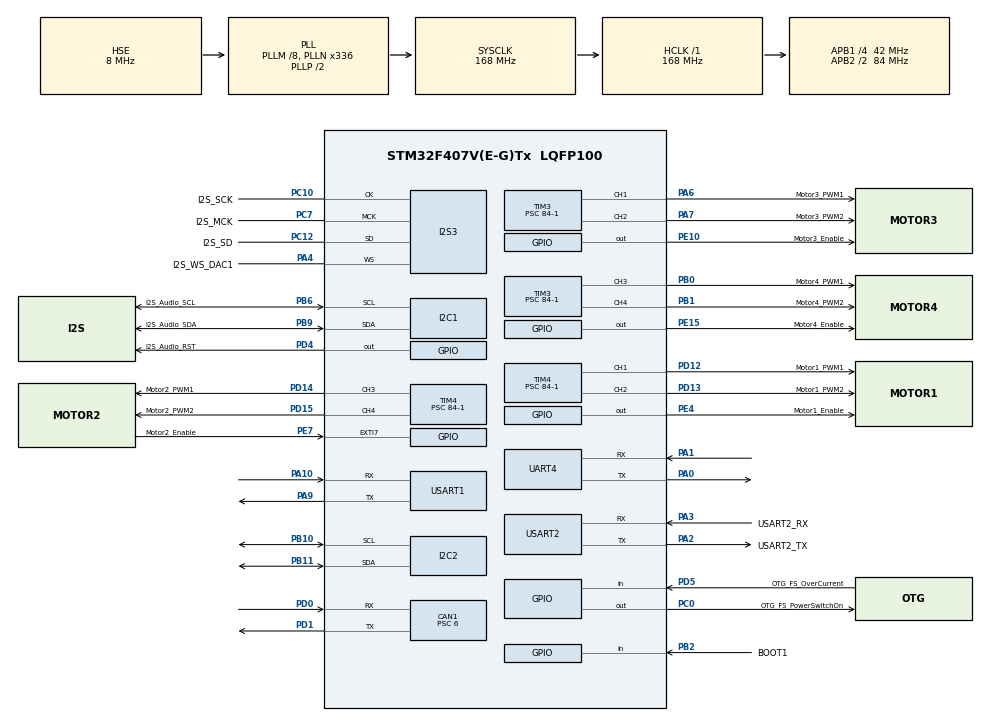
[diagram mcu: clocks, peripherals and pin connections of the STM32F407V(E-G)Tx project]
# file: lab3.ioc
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CAN1.BS1=CAN_BS1_11TQ
CAN1.BS2=CAN_BS2_2TQ
CAN1.CalculateBaudRate=500000
CAN1.CalculateTimeBit=2000
CAN1.CalculateTimeQuantum=142.85714285714286
CAN1.Prescaler=6
I2S3.AudioFreq-Half_Duplex_Master=I2S_AUDIOFREQ_96K
I2S3.ErrorAudioFreq=-2.34 %
I2S3.ErrorAudioFreq-Half_Duplex_Master=0.8 %
I2S3.FullDuplexMode=I2S_FULLDUPLEXMODE_DISABLE
I2S3.Instance=SPI$Index
I2S3.RealAudioFreq=93.75 KHz
I2S3.RealAudioFreq-Half_Duplex_Master=96.774 KHz
I2S3.VirtualMode=I2S_MODE_MASTER
Mcu.Family=STM32F4
Mcu.Name=STM32F407V(E-G)Tx
Mcu.Package=LQFP100
NVIC.CAN1_RX0_IRQn=true\:0\:0\:false\:false\:true\:true\:true\:true
NVIC.PriorityGroup=NVIC_PRIORITYGROUP_0
NVIC.TIM1_UP_TIM10_IRQn=true\:0\:0\:false\:false\:true\:true\:true\:true
NVIC.USART2_IRQn=true\:0\:0\:false\:false\:true\:true\:true\:true
PA0-WKUP.Mode=Asynchronous
PA0-WKUP.Signal=UART4_TX
PA1.Mode=Asynchronous
PA1.Signal=UART4_RX
PA10.Mode=Asynchronous
PA10.Signal=USART1_RX
PA13.GPIO_Label=SWDIO
PA13.Mode=Serial_Wire
PA13.Signal=SYS_JTMS-SWDIO
PA14.GPIO_Label=SWCLK
PA14.Mode=Serial_Wire
PA14.Signal=SYS_JTCK-SWCLK
PA2.GPIO_Label=USART2_TX
PA2.Mode=Asynchronous
PA2.Signal=USART2_TX
PA3.GPIO_Label=USART2_RX
PA3.Mode=Asynchronous
PA3.Signal=USART2_RX
PA4.GPIO_Label=I2S_WS_DAC1
PA4.GPIO_Mode=GPIO_MODE_AF_PP
PA4.GPIO_PuPd=GPIO_NOPULL
PA4.GPIO_Speed=GPIO_SPEED_FREQ_LOW
PA4.Mode=Half_Duplex_Master
PA4.Signal=I2S3_WS
PA6.GPIO_Label=Motor3_PWM1
PA6.Signal=S_TIM3_CH1
PA7.GPIO_Label=Motor3_PWM2
PA7.Signal=S_TIM3_CH2
PA9.Mode=Asynchronous
PA9.Signal=USART1_TX
PB0.GPIO_Label=Motor4_PWM1
PB0.Signal=S_TIM3_CH3
PB1.GPIO_Label=Motor4_PWM2
PB1.Signal=S_TIM3_CH4
PB10.Mode=I2C
PB10.Signal=I2C2_SCL
PB11.Mode=I2C
PB11.Signal=I2C2_SDA
PB2.GPIO_Label=BOOT1
PB2.GPIO_Mode=GPIO_MODE_INPUT
PB2.GPIO_PuPd=GPIO_NOPULL
PB2.Signal=GPIO_Input
PB6.GPIO_Label=I2S_Audio_SCL
PB6.GPIO_Mode=GPIO_MODE_AF_OD
PB6.GPIO_Pu=GPIO_PULLUP
PB6.GPIO_PuPd=GPIO_NOPULL
PB6.GPIO_Speed=GPIO_SPEED_FREQ_LOW
PB6.Mode=I2C
PB6.Signal=I2C1_SCL
PB9.GPIO_Label=I2S_Audio_SDA
PB9.GPIO_Mode=GPIO_MODE_AF_OD
PB9.GPIO_Pu=GPIO_PULLUP
PB9.GPIO_PuPd=GPIO_NOPULL
PB9.GPIO_Speed=GPIO_SPEED_FREQ_LOW
PB9.Mode=I2C
PB9.Signal=I2C1_SDA
PC0.GPIO_Label=OTG_FS_PowerSwitchOn
PC0.GPIO_PuPd=GPIO_NOPULL
PC0.GPIO_Speed=GPIO_SPEED_FREQ_LOW
PC0.PinState=GPIO_PIN_SET
PC0.Signal=GPIO_Output
PC10.GPIO_Label=I2S_SCK
PC10.GPIO_Mode=GPIO_MODE_AF_PP
PC10.GPIO_PuPd=GPIO_NOPULL
PC10.GPIO_Speed=GPIO_SPEED_FREQ_LOW
PC10.Mode=Half_Duplex_Master
PC10.Signal=I2S3_CK
PC12.GPIO_Label=I2S_SD
PC12.GPIO_Mode=GPIO_MODE_AF_PP
PC12.GPIO_PuPd=GPIO_NOPULL
PC12.GPIO_Speed=GPIO_SPEED_FREQ_LOW
PC12.Mode=Half_Duplex_Master
PC12.Signal=I2S3_SD
PC14-OSC32_IN.GPIO_Label=PC14-OSC32_IN
PC14-OSC32_IN.Mode=LSE-External-Oscillator
PC14-OSC32_IN.Signal=RCC_OSC32_IN
PC15-OSC32_OUT.GPIO_Label=PC15-OSC32_OUT
PC15-OSC32_OUT.Mode=LSE-External-Oscillator
PC15-OSC32_OUT.Signal=RCC_OSC32_OUT
PC7.GPIO_Label=I2S_MCK
PC7.GPIO_Mode=GPIO_MODE_AF_PP
PC7.GPIO_PuPd=GPIO_NOPULL
PC7.GPIO_Speed=GPIO_SPEED_FREQ_LOW
PC7.Mode=Master_Clock_Activated
PC7.Signal=I2S3_MCK
PD0.Mode=CAN_Activate
PD0.Signal=CAN1_RX
PD1.Mode=CAN_Activate
PD1.Signal=CAN1_TX
PD12.GPIO_Label=Motor1_PWM1
PD12.Signal=S_TIM4_CH1
PD13.GPIO_Label=Motor1_PWM2
PD13.Signal=S_TIM4_CH2
PD14.GPIO_Label=Motor2_PWM1
PD14.Signal=S_TIM4_CH3
PD15.GPIO_Label=Motor2_PWM2
PD15.Signal=S_TIM4_CH4
PD4.GPIO_Label=I2S_Audio_RST
PD4.GPIO_PuPd=GPIO_NOPULL
PD4.GPIO_Speed=GPIO_SPEED_FREQ_LOW
PD4.Signal=GPIO_Output
PD5.GPIO_Label=OTG_FS_OverCurrent
PD5.GPIO_Mode=GPIO_MODE_INPUT
PD5.GPIO_PuPd=GPIO_NOPULL
PD5.Signal=GPIO_Input
PE10.GPIO_Label=Motor3_Enable
PE10.Signal=GPIO_Output
PE15.GPIO_Label=Motor4_Enable
PE15.Signal=GPIO_Output
PE4.GPIO_Label=Motor1_Enable
PE4.Signal=GPIO_Output
PE7.GPIO_Label=Motor2_Enable
PE7.Signal=GPXTI7
PH0-OSC_IN.GPIO_Label=PH0-OSC_IN
PH0-OSC_IN.Mode=HSE-External-Oscillator
PH0-OSC_IN.Signal=RCC_OSC_IN
PH1-OSC_OUT.GPIO_Label=PH1-OSC_OUT
PH1-OSC_OUT.Mode=HSE-External-Oscillator
PH1-OSC_OUT.Signal=RCC_OSC_OUT
ProjectManager.HeapSize=0x200
ProjectManager.StackSize=0x400
ProjectManager.TargetToolchain=STM32CubeIDE
RCC.48MHZClocksFreq_Value=48000000
RCC.AHBFreq_Value=168000000
RCC.APB1CLKDivider=RCC_HCLK_DIV4
RCC.APB1Freq_Value=42000000
RCC.APB1TimFreq_Value=84000000
RCC.APB2CLKDivider=RCC_HCLK_DIV2
RCC.APB2Freq_Value=84000000
RCC.APB2TimFreq_Value=168000000
RCC.CortexFreq_Value=168000000
RCC.HCLKFreq_Value=168000000
RCC.HSE_VALUE=8000000
RCC.HSI_VALUE=16000000
RCC.PLLM=8
RCC.PLLN=336
RCC.PLLQ=7
RCC.PLLSourceVirtual=RCC_PLLSOURCE_HSE
RCC.SYSCLKFreq_VALUE=168000000
RCC.SYSCLKSource=RCC_SYSCLKSOURCE_PLLCLK
RCC.VCOOutputFreq_Value=336000000
SH.S_TIM3_CH1.0=TIM3_CH1,PWM Generation1 CH1
SH.S_TIM3_CH2.0=TIM3_CH2,PWM Generation2 CH2
SH.S_TIM3_CH3.0=TIM3_CH3,PWM Generation3 CH3
SH.S_TIM3_CH4.0=TIM3_CH4,PWM Generation4 CH4
SH.S_TIM4_CH1.0=TIM4_CH1,PWM Generation1 CH1
SH.S_TIM4_CH2.0=TIM4_CH2,PWM Generation2 CH2
SH.S_TIM4_CH3.0=TIM4_CH3,PWM Generation3 CH3
SH.S_TIM4_CH4.0=TIM4_CH4,PWM Generation4 CH4
TIM1.Period=10000-1
TIM1.Prescaler=1680-1
TIM1.TIM_MasterOutputTrigger=TIM_TRGO_UPDATE
TIM3.Channel-PWM\ Generation1\ CH1=TIM_CHANNEL_1
TIM3.Channel-PWM\ Generation2\ CH2=TIM_CHANNEL_2
TIM3.Channel-PWM\ Generation3\ CH3=TIM_CHANNEL_3
TIM3.Channel-PWM\ Generation4\ CH4=TIM_CHANNEL_4
TIM3.Period=100-1
TIM3.Prescaler=84-1
TIM4.Channel-PWM\ Generation1\ CH1=TIM_CHANNEL_1
TIM4.Channel-PWM\ Generation2\ CH2=TIM_CHANNEL_2
TIM4.Channel-PWM\ Generation3\ CH3=TIM_CHANNEL_3
TIM4.Channel-PWM\ Generation4\ CH4=TIM_CHANNEL_4
TIM4.Period=100-1
TIM4.Prescaler=84-1
UART4.VirtualMode=Asynchronous
USART1.VirtualMode=VM_ASYNC
USART2.VirtualMode=VM_ASYNC
VP_TIM1_VS_ClockSourceINT.Mode=Internal
VP_TIM3_VS_ClockSourceINT.Mode=Internal
VP_TIM4_VS_ClockSourceINT.Mode=Internal
board=STM32F407G-DISC1

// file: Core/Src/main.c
/* USER CODE BEGIN Header */
/**
  ******************************************************************************
  * @file           : main.c
  * @brief          : Main program body
  ******************************************************************************
  * @attention
  *
  * Copyright (c) 2023 STMicroelectronics.
  * All rights reserved.
  *
  * This software is licensed under terms that can be found in the LICENSE file
  * in the root directory of this software component.
  * If no LICENSE file comes with this software, it is provided AS-IS.
  *
  ******************************************************************************
  */
/* USER CODE END Header */
#include "main.h"

CAN_HandleTypeDef hcan1;

I2C_HandleTypeDef hi2c1;
I2C_HandleTypeDef hi2c2;

I2S_HandleTypeDef hi2s3;

TIM_HandleTypeDef htim1;
TIM_HandleTypeDef htim3;
TIM_HandleTypeDef htim4;

UART_HandleTypeDef huart4;
UART_HandleTypeDef huart1;
UART_HandleTypeDef huart2;

/* USER CODE BEGIN PV */
CAN_RxHeaderTypeDef rxHeader; //CAN Bus Transmit Header
CAN_TxHeaderTypeDef txHeader; //CAN Bus Receive Header
uint8_t canRX[8] = {0,0,0,0,0,0,0,0};  //CAN Bus Receive Buffer
CAN_FilterTypeDef canfil; //CAN Bus Filter
uint32_t canMailbox; //CAN Bus Mail box variable

uint8_t motor1_pwm1=0, motor1_pwm2=0, motor2_pwm1=0, motor2_pwm2=0, motor3_pwm1=0, motor3_pwm2=0, motor4_pwm1=0, motor4_pwm2=0;
/* USER CODE END PV */

void SystemClock_Config(void);
static void MX_GPIO_Init(void);
static void MX_I2C1_Init(void);
static void MX_I2S3_Init(void);
static void MX_I2C2_Init(void);
static void MX_TIM3_Init(void);
static void MX_TIM4_Init(void);
static void MX_UART4_Init(void);
static void MX_USART1_UART_Init(void);
static void MX_USART2_UART_Init(void);
static void MX_CAN1_Init(void);
static void MX_TIM1_Init(void);

/* USER CODE BEGIN 0 */
void HAL_CAN_RxFifo0MsgPendingCallback(CAN_HandleTypeDef *hcan1)
{
	HAL_CAN_GetRxMessage(hcan1, CAN_RX_FIFO0, &rxHeader, canRX); //Receive CAN bus message to canRX buffer
	if( (rxHeader.StdId = 0x400) )
	{
		motor1_pwm1 = canRX[0];
		motor1_pwm2 = canRX[1];
		motor2_pwm1 = canRX[2];
		motor2_pwm2 = canRX[3];
		motor3_pwm1 = canRX[4];
		motor3_pwm2 = canRX[5];
		motor4_pwm1 = canRX[6];
		motor4_pwm2 = canRX[7];
	}
}

/* USER CODE END 0 */

int main(void)
{

  /* MCU Configuration--------------------------------------------------------*/

  /* Reset of all peripherals, Initializes the Flash interface and the Systick. */
  HAL_Init();

  /* Configure the system clock */
  SystemClock_Config();

  /* Initialize all configured peripherals */
  MX_GPIO_Init();
  MX_I2C1_Init();
  MX_I2S3_Init();
  MX_I2C2_Init();
  MX_TIM3_Init();
  MX_TIM4_Init();
  MX_UART4_Init();
  MX_USART1_UART_Init();
  MX_USART2_UART_Init();
  MX_CAN1_Init();
  MX_TIM1_Init();
  /* USER CODE BEGIN 2 */
  // Motor Enable Pins set to HIGH
  HAL_GPIO_WritePin(Motor1_Enable_GPIO_Port, Motor1_Enable_Pin, GPIO_PIN_SET);
  HAL_GPIO_WritePin(Motor2_Enable_GPIO_Port, Motor2_Enable_Pin, GPIO_PIN_SET);
  HAL_GPIO_WritePin(Motor3_Enable_GPIO_Port, Motor3_Enable_Pin, GPIO_PIN_SET);
  HAL_GPIO_WritePin(Motor4_Enable_GPIO_Port, Motor4_Enable_Pin, GPIO_PIN_SET);

  // PWM Settings for Motors PWM1 & PWM2 pins
  TIM3->CCR1 = 0;	//Motor3_PWM1
  TIM3->CCR2 = 0;	//Motor3_PWM2
  TIM3->CCR3 = 0;	//Motor4_PWM1
  TIM3->CCR4 = 0;	//Motor4_PWM2

  TIM4->CCR1 = 0;	//Motor1_PWM1
  TIM4->CCR2 = 0;	//Motor1_PWM2
  TIM4->CCR3 = 0;	//Motor2_PWM1
  TIM4->CCR4 = 0;	//Motor2_PWM2

  canfil.FilterBank = 0;
  canfil.FilterMode = CAN_FILTERMODE_IDMASK;
  canfil.FilterFIFOAssignment = CAN_RX_FIFO0;
  canfil.FilterIdHigh = 0;
  canfil.FilterIdLow = 0;
  canfil.FilterMaskIdHigh = 0;
  canfil.FilterMaskIdLow = 0;
  canfil.FilterScale = CAN_FILTERSCALE_32BIT;
  canfil.FilterActivation = ENABLE;
  canfil.SlaveStartFilterBank = 14;

  txHeader.DLC = 8; // Number of bites to be transmitted max- 8
  txHeader.IDE = CAN_ID_STD;
  txHeader.RTR = CAN_RTR_DATA;
  txHeader.StdId = 0x030;
  txHeader.ExtId = 0x02;
  txHeader.TransmitGlobalTime = DISABLE;

  HAL_CAN_ConfigFilter(&hcan1,&canfil); //Initialize CAN Filter
  HAL_CAN_Start(&hcan1); //Initialize CAN Bus
  HAL_CAN_ActivateNotification(&hcan1,CAN_IT_RX_FIFO0_MSG_PENDING);// Initialize CAN Bus Rx Interrupt

  // PWM Signals is started
  HAL_TIM_PWM_Start(&htim3, TIM_CHANNEL_1);
  HAL_TIM_PWM_Start(&htim3, TIM_CHANNEL_2);
  HAL_TIM_PWM_Start(&htim3, TIM_CHANNEL_3);
  HAL_TIM_PWM_Start(&htim3, TIM_CHANNEL_4);

  HAL_TIM_PWM_Start(&htim4, TIM_CHANNEL_1);
  HAL_TIM_PWM_Start(&htim4, TIM_CHANNEL_2);
  HAL_TIM_PWM_Start(&htim4, TIM_CHANNEL_3);
  HAL_TIM_PWM_Start(&htim4, TIM_CHANNEL_4);
  /* USER CODE END 2 */

  /* Infinite loop */
  while (1)
  {

    /* USER CODE BEGIN 3 */
	TIM3->CCR1 = motor3_pwm1;	//Motor3_PWM1
	TIM3->CCR2 = motor3_pwm2;	//Motor3_PWM2
	TIM3->CCR3 = motor4_pwm1;	//Motor4_PWM1
	TIM3->CCR4 = motor4_pwm2;	//Motor4_PWM2

	TIM4->CCR1 = motor1_pwm1;	//Motor1_PWM1
	TIM4->CCR2 = motor1_pwm2;	//Motor1_PWM2
	TIM4->CCR3 = motor2_pwm1;	//Motor2_PWM1
	TIM4->CCR4 = motor2_pwm2;	//Motor2_PWM2
	HAL_Delay(20);
  }
  /* USER CODE END 3 */
}

void SystemClock_Config(void)
{
  RCC_OscInitTypeDef RCC_OscInitStruct = {0};
  RCC_ClkInitTypeDef RCC_ClkInitStruct = {0};

  /** Configure the main internal regulator output voltage
  */
  __HAL_RCC_PWR_CLK_ENABLE();
  __HAL_PWR_VOLTAGESCALING_CONFIG(PWR_REGULATOR_VOLTAGE_SCALE1);

  /** Initializes the RCC Oscillators according to the specified parameters
  * in the RCC_OscInitTypeDef structure.
  */
  RCC_OscInitStruct.OscillatorType = RCC_OSCILLATORTYPE_HSE;
  RCC_OscInitStruct.HSEState = RCC_HSE_ON;
  RCC_OscInitStruct.PLL.PLLState = RCC_PLL_ON;
  RCC_OscInitStruct.PLL.PLLSource = RCC_PLLSOURCE_HSE;
  RCC_OscInitStruct.PLL.PLLM = 8;
  RCC_OscInitStruct.PLL.PLLN = 336;
  RCC_OscInitStruct.PLL.PLLP = RCC_PLLP_DIV2;
  RCC_OscInitStruct.PLL.PLLQ = 7;
  if (HAL_RCC_OscConfig(&RCC_OscInitStruct) != HAL_OK)
  {
    Error_Handler();
  }

  /** Initializes the CPU, AHB and APB buses clocks
  */
  RCC_ClkInitStruct.ClockType = RCC_CLOCKTYPE_HCLK|RCC_CLOCKTYPE_SYSCLK
                              |RCC_CLOCKTYPE_PCLK1|RCC_CLOCKTYPE_PCLK2;
  RCC_ClkInitStruct.SYSCLKSource = RCC_SYSCLKSOURCE_PLLCLK;
  RCC_ClkInitStruct.AHBCLKDivider = RCC_SYSCLK_DIV1;
  RCC_ClkInitStruct.APB1CLKDivider = RCC_HCLK_DIV4;
  RCC_ClkInitStruct.APB2CLKDivider = RCC_HCLK_DIV2;

  if (HAL_RCC_ClockConfig(&RCC_ClkInitStruct, FLASH_LATENCY_5) != HAL_OK)
  {
    Error_Handler();
  }
}

static void MX_CAN1_Init(void)
{

  hcan1.Instance = CAN1;
  hcan1.Init.Prescaler = 6;
  hcan1.Init.Mode = CAN_MODE_NORMAL;
  hcan1.Init.SyncJumpWidth = CAN_SJW_1TQ;
  hcan1.Init.TimeSeg1 = CAN_BS1_11TQ;
  hcan1.Init.TimeSeg2 = CAN_BS2_2TQ;
  hcan1.Init.TimeTriggeredMode = DISABLE;
  hcan1.Init.AutoBusOff = DISABLE;
  hcan1.Init.AutoWakeUp = DISABLE;
  hcan1.Init.AutoRetransmission = DISABLE;
  hcan1.Init.ReceiveFifoLocked = DISABLE;
  hcan1.Init.TransmitFifoPriority = DISABLE;
  if (HAL_CAN_Init(&hcan1) != HAL_OK)
  {
    Error_Handler();
  }

}

static void MX_I2C1_Init(void)
{

  hi2c1.Instance = I2C1;
  hi2c1.Init.ClockSpeed = 100000;
  hi2c1.Init.DutyCycle = I2C_DUTYCYCLE_2;
  hi2c1.Init.OwnAddress1 = 0;
  hi2c1.Init.AddressingMode = I2C_ADDRESSINGMODE_7BIT;
  hi2c1.Init.DualAddressMode = I2C_DUALADDRESS_DISABLE;
  hi2c1.Init.OwnAddress2 = 0;
  hi2c1.Init.GeneralCallMode = I2C_GENERALCALL_DISABLE;
  hi2c1.Init.NoStretchMode = I2C_NOSTRETCH_DISABLE;
  if (HAL_I2C_Init(&hi2c1) != HAL_OK)
  {
    Error_Handler();
  }

}

static void MX_I2C2_Init(void)
{

  hi2c2.Instance = I2C2;
  hi2c2.Init.ClockSpeed = 100000;
  hi2c2.Init.DutyCycle = I2C_DUTYCYCLE_2;
  hi2c2.Init.OwnAddress1 = 0;
  hi2c2.Init.AddressingMode = I2C_ADDRESSINGMODE_7BIT;
  hi2c2.Init.DualAddressMode = I2C_DUALADDRESS_DISABLE;
  hi2c2.Init.OwnAddress2 = 0;
  hi2c2.Init.GeneralCallMode = I2C_GENERALCALL_DISABLE;
  hi2c2.Init.NoStretchMode = I2C_NOSTRETCH_DISABLE;
  if (HAL_I2C_Init(&hi2c2) != HAL_OK)
  {
    Error_Handler();
  }

}

static void MX_I2S3_Init(void)
{

  hi2s3.Instance = SPI3;
  hi2s3.Init.Mode = I2S_MODE_MASTER_TX;
  hi2s3.Init.Standard = I2S_STANDARD_PHILIPS;
  hi2s3.Init.DataFormat = I2S_DATAFORMAT_16B;
  hi2s3.Init.MCLKOutput = I2S_MCLKOUTPUT_ENABLE;
  hi2s3.Init.AudioFreq = I2S_AUDIOFREQ_96K;
  hi2s3.Init.CPOL = I2S_CPOL_LOW;
  hi2s3.Init.ClockSource = I2S_CLOCK_PLL;
  hi2s3.Init.FullDuplexMode = I2S_FULLDUPLEXMODE_DISABLE;
  if (HAL_I2S_Init(&hi2s3) != HAL_OK)
  {
    Error_Handler();
  }

}

static void MX_TIM1_Init(void)
{

  TIM_ClockConfigTypeDef sClockSourceConfig = {0};
  TIM_MasterConfigTypeDef sMasterConfig = {0};

  htim1.Instance = TIM1;
  htim1.Init.Prescaler = 1680-1;
  htim1.Init.CounterMode = TIM_COUNTERMODE_UP;
  htim1.Init.Period = 10000-1;
  htim1.Init.ClockDivision = TIM_CLOCKDIVISION_DIV1;
  htim1.Init.RepetitionCounter = 0;
  htim1.Init.AutoReloadPreload = TIM_AUTORELOAD_PRELOAD_DISABLE;
  if (HAL_TIM_Base_Init(&htim1) != HAL_OK)
  {
    Error_Handler();
  }
  sClockSourceConfig.ClockSource = TIM_CLOCKSOURCE_INTERNAL;
  if (HAL_TIM_ConfigClockSource(&htim1, &sClockSourceConfig) != HAL_OK)
  {
    Error_Handler();
  }
  sMasterConfig.MasterOutputTrigger = TIM_TRGO_UPDATE;
  sMasterConfig.MasterSlaveMode = TIM_MASTERSLAVEMODE_DISABLE;
  if (HAL_TIMEx_MasterConfigSynchronization(&htim1, &sMasterConfig) != HAL_OK)
  {
    Error_Handler();
  }

}

static void MX_TIM3_Init(void)
{

  TIM_ClockConfigTypeDef sClockSourceConfig = {0};
  TIM_MasterConfigTypeDef sMasterConfig = {0};
  TIM_OC_InitTypeDef sConfigOC = {0};

  htim3.Instance = TIM3;
  htim3.Init.Prescaler = 84-1;
  htim3.Init.CounterMode = TIM_COUNTERMODE_UP;
  htim3.Init.Period = 100-1;
  htim3.Init.ClockDivision = TIM_CLOCKDIVISION_DIV1;
  htim3.Init.AutoReloadPreload = TIM_AUTORELOAD_PRELOAD_DISABLE;
  if (HAL_TIM_Base_Init(&htim3) != HAL_OK)
  {
    Error_Handler();
  }
  sClockSourceConfig.ClockSource = TIM_CLOCKSOURCE_INTERNAL;
  if (HAL_TIM_ConfigClockSource(&htim3, &sClockSourceConfig) != HAL_OK)
  {
    Error_Handler();
  }
  if (HAL_TIM_PWM_Init(&htim3) != HAL_OK)
  {
    Error_Handler();
  }
  sMasterConfig.MasterOutputTrigger = TIM_TRGO_RESET;
  sMasterConfig.MasterSlaveMode = TIM_MASTERSLAVEMODE_DISABLE;
  if (HAL_TIMEx_MasterConfigSynchronization(&htim3, &sMasterConfig) != HAL_OK)
  {
    Error_Handler();
  }
  sConfigOC.OCMode = TIM_OCMODE_PWM1;
  sConfigOC.Pulse = 0;
  sConfigOC.OCPolarity = TIM_OCPOLARITY_HIGH;
  sConfigOC.OCFastMode = TIM_OCFAST_DISABLE;
  if (HAL_TIM_PWM_ConfigChannel(&htim3, &sConfigOC, TIM_CHANNEL_1) != HAL_OK)
  {
    Error_Handler();
  }
  if (HAL_TIM_PWM_ConfigChannel(&htim3, &sConfigOC, TIM_CHANNEL_2) != HAL_OK)
  {
    Error_Handler();
  }
  if (HAL_TIM_PWM_ConfigChannel(&htim3, &sConfigOC, TIM_CHANNEL_3) != HAL_OK)
  {
    Error_Handler();
  }
  if (HAL_TIM_PWM_ConfigChannel(&htim3, &sConfigOC, TIM_CHANNEL_4) != HAL_OK)
  {
    Error_Handler();
  }
  HAL_TIM_MspPostInit(&htim3);

}

static void MX_TIM4_Init(void)
{

  TIM_ClockConfigTypeDef sClockSourceConfig = {0};
  TIM_MasterConfigTypeDef sMasterConfig = {0};
  TIM_OC_InitTypeDef sConfigOC = {0};

  htim4.Instance = TIM4;
  htim4.Init.Prescaler = 84-1;
  htim4.Init.CounterMode = TIM_COUNTERMODE_UP;
  htim4.Init.Period = 100-1;
  htim4.Init.ClockDivision = TIM_CLOCKDIVISION_DIV1;
  htim4.Init.AutoReloadPreload = TIM_AUTORELOAD_PRELOAD_DISABLE;
  if (HAL_TIM_Base_Init(&htim4) != HAL_OK)
  {
    Error_Handler();
  }
  sClockSourceConfig.ClockSource = TIM_CLOCKSOURCE_INTERNAL;
  if (HAL_TIM_ConfigClockSource(&htim4, &sClockSourceConfig) != HAL_OK)
  {
    Error_Handler();
  }
  if (HAL_TIM_PWM_Init(&htim4) != HAL_OK)
  {
    Error_Handler();
  }
  sMasterConfig.MasterOutputTrigger = TIM_TRGO_RESET;
  sMasterConfig.MasterSlaveMode = TIM_MASTERSLAVEMODE_DISABLE;
  if (HAL_TIMEx_MasterConfigSynchronization(&htim4, &sMasterConfig) != HAL_OK)
  {
    Error_Handler();
  }
  sConfigOC.OCMode = TIM_OCMODE_PWM1;
  sConfigOC.Pulse = 0;
  sConfigOC.OCPolarity = TIM_OCPOLARITY_HIGH;
  sConfigOC.OCFastMode = TIM_OCFAST_DISABLE;
  if (HAL_TIM_PWM_ConfigChannel(&htim4, &sConfigOC, TIM_CHANNEL_1) != HAL_OK)
  {
    Error_Handler();
  }
  if (HAL_TIM_PWM_ConfigChannel(&htim4, &sConfigOC, TIM_CHANNEL_2) != HAL_OK)
  {
    Error_Handler();
  }
  if (HAL_TIM_PWM_ConfigChannel(&htim4, &sConfigOC, TIM_CHANNEL_3) != HAL_OK)
  {
    Error_Handler();
  }
  if (HAL_TIM_PWM_ConfigChannel(&htim4, &sConfigOC, TIM_CHANNEL_4) != HAL_OK)
  {
    Error_Handler();
  }
  HAL_TIM_MspPostInit(&htim4);

}

static void MX_UART4_Init(void)
{

  huart4.Instance = UART4;
  huart4.Init.BaudRate = 115200;
  huart4.Init.WordLength = UART_WORDLENGTH_8B;
  huart4.Init.StopBits = UART_STOPBITS_1;
  huart4.Init.Parity = UART_PARITY_NONE;
  huart4.Init.Mode = UART_MODE_TX_RX;
  huart4.Init.HwFlowCtl = UART_HWCONTROL_NONE;
  huart4.Init.OverSampling = UART_OVERSAMPLING_16;
  if (HAL_UART_Init(&huart4) != HAL_OK)
  {
    Error_Handler();
  }

}

static void MX_USART1_UART_Init(void)
{

  huart1.Instance = USART1;
  huart1.Init.BaudRate = 115200;
  huart1.Init.WordLength = UART_WORDLENGTH_8B;
  huart1.Init.StopBits = UART_STOPBITS_1;
  huart1.Init.Parity = UART_PARITY_NONE;
  huart1.Init.Mode = UART_MODE_TX_RX;
  huart1.Init.HwFlowCtl = UART_HWCONTROL_NONE;
  huart1.Init.OverSampling = UART_OVERSAMPLING_16;
  if (HAL_UART_Init(&huart1) != HAL_OK)
  {
    Error_Handler();
  }

}

static void MX_USART2_UART_Init(void)
{

  huart2.Instance = USART2;
  huart2.Init.BaudRate = 115200;
  huart2.Init.WordLength = UART_WORDLENGTH_8B;
  huart2.Init.StopBits = UART_STOPBITS_1;
  huart2.Init.Parity = UART_PARITY_NONE;
  huart2.Init.Mode = UART_MODE_TX_RX;
  huart2.Init.HwFlowCtl = UART_HWCONTROL_NONE;
  huart2.Init.OverSampling = UART_OVERSAMPLING_16;
  if (HAL_UART_Init(&huart2) != HAL_OK)
  {
    Error_Handler();
  }

}

static void MX_GPIO_Init(void)
{
  GPIO_InitTypeDef GPIO_InitStruct = {0};

  /* GPIO Ports Clock Enable */
  __HAL_RCC_GPIOE_CLK_ENABLE();
  __HAL_RCC_GPIOC_CLK_ENABLE();
  __HAL_RCC_GPIOH_CLK_ENABLE();
  __HAL_RCC_GPIOA_CLK_ENABLE();
  __HAL_RCC_GPIOB_CLK_ENABLE();
  __HAL_RCC_GPIOD_CLK_ENABLE();

  /*Configure GPIO pin Output Level */
  HAL_GPIO_WritePin(GPIOE, Motor1_Enable_Pin|Motor3_Enable_Pin|Motor4_Enable_Pin, GPIO_PIN_RESET);

  /*Configure GPIO pin Output Level */
  HAL_GPIO_WritePin(OTG_FS_PowerSwitchOn_GPIO_Port, OTG_FS_PowerSwitchOn_Pin, GPIO_PIN_SET);

  /*Configure GPIO pin Output Level */
  HAL_GPIO_WritePin(I2S_Audio_RST_GPIO_Port, I2S_Audio_RST_Pin, GPIO_PIN_RESET);

  /*Configure GPIO pins : Motor1_Enable_Pin Motor3_Enable_Pin Motor4_Enable_Pin */
  GPIO_InitStruct.Pin = Motor1_Enable_Pin|Motor3_Enable_Pin|Motor4_Enable_Pin;
  GPIO_InitStruct.Mode = GPIO_MODE_OUTPUT_PP;
  GPIO_InitStruct.Pull = GPIO_NOPULL;
  GPIO_InitStruct.Speed = GPIO_SPEED_FREQ_LOW;
  HAL_GPIO_Init(GPIOE, &GPIO_InitStruct);

  /*Configure GPIO pin : OTG_FS_PowerSwitchOn_Pin */
  GPIO_InitStruct.Pin = OTG_FS_PowerSwitchOn_Pin;
  GPIO_InitStruct.Mode = GPIO_MODE_OUTPUT_PP;
  GPIO_InitStruct.Pull = GPIO_NOPULL;
  GPIO_InitStruct.Speed = GPIO_SPEED_FREQ_LOW;
  HAL_GPIO_Init(OTG_FS_PowerSwitchOn_GPIO_Port, &GPIO_InitStruct);

  /*Configure GPIO pin : BOOT1_Pin */
  GPIO_InitStruct.Pin = BOOT1_Pin;
  GPIO_InitStruct.Mode = GPIO_MODE_INPUT;
  GPIO_InitStruct.Pull = GPIO_NOPULL;
  HAL_GPIO_Init(BOOT1_GPIO_Port, &GPIO_InitStruct);

  /*Configure GPIO pin : Motor2_Enable_Pin */
  GPIO_InitStruct.Pin = Motor2_Enable_Pin;
  GPIO_InitStruct.Mode = GPIO_MODE_IT_RISING;
  GPIO_InitStruct.Pull = GPIO_NOPULL;
  HAL_GPIO_Init(Motor2_Enable_GPIO_Port, &GPIO_InitStruct);

  /*Configure GPIO pin : I2S_Audio_RST_Pin */
  GPIO_InitStruct.Pin = I2S_Audio_RST_Pin;
  GPIO_InitStruct.Mode = GPIO_MODE_OUTPUT_PP;
  GPIO_InitStruct.Pull = GPIO_NOPULL;
  GPIO_InitStruct.Speed = GPIO_SPEED_FREQ_LOW;
  HAL_GPIO_Init(I2S_Audio_RST_GPIO_Port, &GPIO_InitStruct);

  /*Configure GPIO pin : OTG_FS_OverCurrent_Pin */
  GPIO_InitStruct.Pin = OTG_FS_OverCurrent_Pin;
  GPIO_InitStruct.Mode = GPIO_MODE_INPUT;
  GPIO_InitStruct.Pull = GPIO_NOPULL;
  HAL_GPIO_Init(OTG_FS_OverCurrent_GPIO_Port, &GPIO_InitStruct);

}

void Error_Handler(void)
{
  __disable_irq();
  while (1)
  {
  }
}
